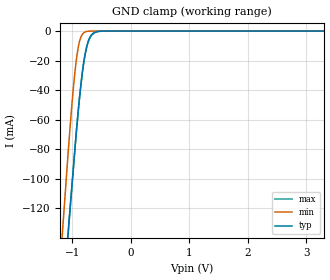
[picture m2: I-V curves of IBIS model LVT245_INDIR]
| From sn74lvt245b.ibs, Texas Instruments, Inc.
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[Model]   LVT245_INDIR
Model_type  Input
Vinl=0.8
Vinh=2.0
| variable   typ   min   max
C_comp   4.27pF   3.17pF   5.54pF
[Temperature Range]   40   -40   100
| Ambient temperature   25   -40   85
[Voltage range]   3.3   2.7   3.6
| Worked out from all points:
|   GND clamp passes 1 mA (typ) near -0.62 V on its own axis
[GND Clamp]
| LVT245_INDIR
|   Voltage   I(typ)   I(min)   I(max)
-5.5V     -2.756A    -2.979A    -2.783A
-1.17V    -185.1mA   -138.6mA   -189.6mA
-1.14V    -170.5mA   -121.9mA   -174mA
-1.075V   -138.9mA   -85.8mA    -140.9mA
-1.05V    -126.7mA   -72.62mA   -128.3mA
-975mV    -90.31mA   -36.58mA   -91.26mA
-900mV    -55.41mA   -11.77mA   -56.15mA
-825mV    -27.54mA   -2.142mA   -28.17mA
-775mV    -14.76mA   -541.2uA   -15.31mA
-725mV    -6.791mA   -95.21uA   -7.264mA
-650mV    -1.754mA   -6.225uA   -2.087mA
3.3V      29.99pA    22.28pA    2.568nA
